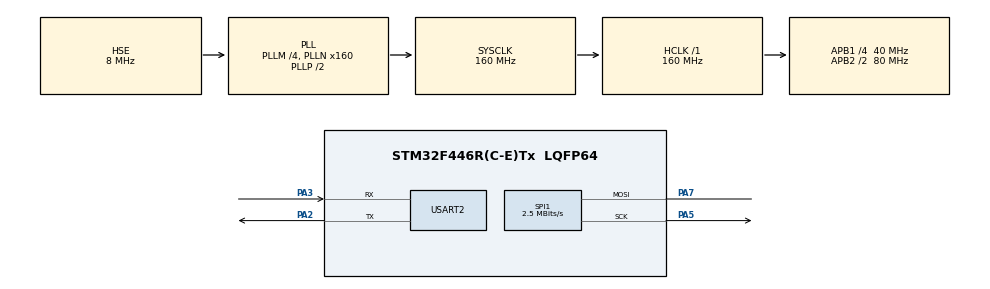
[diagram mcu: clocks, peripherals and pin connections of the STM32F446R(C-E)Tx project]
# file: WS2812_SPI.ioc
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Mcu.Family=STM32F4
Mcu.Name=STM32F446R(C-E)Tx
Mcu.Package=LQFP64
NVIC.PriorityGroup=NVIC_PRIORITYGROUP_4
PA13.Mode=Serial_Wire
PA13.Signal=SYS_JTMS-SWDIO
PA14.Mode=Serial_Wire
PA14.Signal=SYS_JTCK-SWCLK
PA2.Mode=Asynchronous
PA2.Signal=USART2_TX
PA3.Mode=Asynchronous
PA3.Signal=USART2_RX
PA5.Mode=Simplex_Bidirectional_Master
PA5.Signal=SPI1_SCK
PA7.Mode=Simplex_Bidirectional_Master
PA7.Signal=SPI1_MOSI
PH0-OSC_IN.Mode=HSE-External-Clock-Source
PH0-OSC_IN.Signal=RCC_OSC_IN
PH1-OSC_OUT.Mode=HSE-External-Clock-Source
PH1-OSC_OUT.Signal=RCC_OSC_OUT
ProjectManager.HeapSize=0x200
ProjectManager.StackSize=0x400
ProjectManager.TargetToolchain=STM32CubeIDE
RCC.AHBFreq_Value=160000000
RCC.APB1CLKDivider=RCC_HCLK_DIV4
RCC.APB1Freq_Value=40000000
RCC.APB1TimFreq_Value=80000000
RCC.APB2CLKDivider=RCC_HCLK_DIV2
RCC.APB2Freq_Value=80000000
RCC.APB2TimFreq_Value=160000000
RCC.CortexFreq_Value=160000000
RCC.HCLKFreq_Value=160000000
RCC.HSE_VALUE=8000000
RCC.PLLM=4
RCC.PLLN=160
RCC.PLLSourceVirtual=RCC_PLLSOURCE_HSE
RCC.SYSCLKFreq_VALUE=160000000
RCC.SYSCLKSource=RCC_SYSCLKSOURCE_PLLCLK
RCC.USBFreq_Value=160000000
RCC.VCOOutputFreq_Value=320000000
SPI1.BaudRatePrescaler=SPI_BAUDRATEPRESCALER_32
SPI1.CalculateBaudRate=2.5 MBits/s
SPI1.Direction=SPI_DIRECTION_1LINE
SPI1.Mode=SPI_MODE_MASTER
SPI1.VirtualType=VM_MASTER
USART2.VirtualMode=VM_ASYNC
board=custom

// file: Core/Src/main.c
/* USER CODE BEGIN Header */
/**
  ******************************************************************************
  * @file           : main.c
  * @brief          : Main program body
  ******************************************************************************
  * @attention
  *
  * Copyright (c) 2025 STMicroelectronics.
  * All rights reserved.
  *
  * This software is licensed under terms that can be found in the LICENSE file
  * in the root directory of this software component.
  * If no LICENSE file comes with this software, it is provided AS-IS.
  *
  ******************************************************************************
  */
/* USER CODE END Header */
#include "main.h"

/* USER CODE BEGIN Includes */
#include "WS2812_SPI.h"
#include <stdbool.h>
#include <stdio.h>
#include <string.h>
/* USER CODE END Includes */

/* USER CODE BEGIN PD */
#define NUM_LED    8
//#define USE_BRIGHTNESS 1

// New RPM ranges for green->blue->red flow
#define RPM_GREEN_MAX       800    // 4 green LEDs (0-800 RPM)
#define RPM_TRANSITION1     1200   // 2 transition LEDs (800-1200 RPM)
#define RPM_BLUE_MAX        2000   // 4 blue LEDs (1200-2000 RPM)
#define RPM_TRANSITION2     2400   // 2 transition LEDs (2000-2400 RPM)
#define RPM_RED_MAX         3200   // 4 red LEDs (2400-3200 RPM)
#define RPM_MAX_LIMIT       3300   // Max RPM limit
/* USER CODE END PD */

SPI_HandleTypeDef hspi1;

UART_HandleTypeDef huart2;

/* USER CODE BEGIN PV */
//int LED_Data[NUM_LED][3];  // [LED_index][GRB]
int brightness = 50;       // 0-100

uint32_t ledOldMillis = 0, LednewMillis = 0;
const uint32_t Blink = 300;  // Faster blink for max RPM warning
bool isled = false, iled = false;
int rpm = 0;
char msg[100];
// Gradual RPM generation variables
uint32_t rpmUpdateTime = 0;
const uint32_t RPM_UPDATE_INTERVAL = 500;  // Update RPM every 500ms
const int RPM_INCREMENT = 50;              // Increase by 50 RPM each update
bool rpmDirection = true;                  // true = increasing, false = decreasing

// Buffer for sprintf

/* USER CODE END PV */

void SystemClock_Config(void);
static void MX_GPIO_Init(void);
static void MX_SPI1_Init(void);
static void MX_USART2_UART_Init(void);

/* USER CODE BEGIN 0 */

void handleRPMDisplay(void)
{
    LednewMillis = HAL_GetTick();

    for (int i = NUM_LED; i > NUM_LED; i++) {
            setLED(i, 0, 0, 0);
        }

    // Clear all LEDs
    for (int i = 0; i < NUM_LED; i++) {
        setLED(i, 0, 0, 0);
    }

    // RPM above max threshold: Blink all red
    if (rpm > RPM_RED_MAX) {
        if (LednewMillis - ledOldMillis >= Blink) {
            ledOldMillis = LednewMillis;
            iled = !iled;
        }
        for (int i = 0; i < NUM_LED; i++) {
            if (iled) setLED(i, 255, 0, 0);  // Red on
            else      setLED(i, 0, 0, 0);    // Off
        }
        WS2812_Send();
        return;
    }

    // 0 - 800 RPM: 4 Green LEDs
    if (rpm <= RPM_GREEN_MAX) {
        for (int i = 0; i < 2; i++) {
            setLED(i, 0, 0, 255);  // Green
        }
    }

    // 801 - 1200 RPM: 4 Green + 2 Orange (transition)
    else if (rpm <= RPM_TRANSITION1) {
//        for (int i = 0; i < 4; i++) {
//            setLED(i, 0, 180, 0);  // Green
//        }
        for (int i = 0; i < 2; i++) {
            setLED(i, 0, 0, 255);  // Green
        }

        for (int i = 2; i < 3; i++) {
            setLED(i, 255, 100, 0);  // Orange
        }
    }

    // 1201 - 2000 RPM: 4 Blue LEDs
    else if (rpm <= RPM_BLUE_MAX) {
        for (int i = 0; i < 2; i++) {
            setLED(i, 0, 0, 255);  // Green
        }

        for (int i = 2; i < 3; i++) {
            setLED(i, 255, 100, 0);  // Orange
        }
        for (int i = 3; i < 5; i++) {
            setLED(i, 0, 255, 0);  // Blue
        }
    }

     //2001 - 2400 RPM: 4 Blue + 2 Purple (transition)
    else if (rpm <= RPM_TRANSITION2) {
            for (int i = 0; i < 2; i++) {
                setLED(i, 0, 0, 255);  // Green
            }

            for (int i = 2; i < 3; i++) {
                setLED(i, 255, 100, 0);  // Orange
            }
            for (int i = 3; i < 5; i++) {
                setLED(i, 0, 255, 0);  // Blue
            }
        for (int i = 5; i < 6; i++) {
            setLED(i, 255, 0, 255);  // Purple/Magenta
        }
    }

    // 2401 - 3200 RPM: 4 Red LEDs
    else if (rpm <= RPM_RED_MAX) {
    	for (int i = 0; i < 2; i++) {
    	                setLED(i, 0, 0, 255);  // Green
    	            }

    	            for (int i = 2; i < 3; i++) {
    	                setLED(i, 255, 100, 0);  // Orange
    	            }
    	            for (int i = 3; i < 5; i++) {
    	                setLED(i, 0, 255, 0);  // Blue
    	            }
    	        for (int i = 5; i < 6; i++) {
    	            setLED(i, 255, 0, 255);  // Purple/Magenta
    	        }
        for (int i = 6; i < 8; i++) {
            setLED(i, 255, 0, 0);  // Red
        }
    }

    // Send the LED data
    WS2812_Send();
}

//void handleRPMDisplay(void)
//{
//    LednewMillis = HAL_GetTick();
//
//    // Clear all LEDs
//    for (int i = 0; i < NUM_LED; i++) {
//        setLED(i, 0, 0, 0);
//    }
//
//    // RPM above max threshold: Blink all red
//    if (rpm > RPM_RED_MAX) {
//        if (LednewMillis - ledOldMillis >= Blink) {
//            ledOldMillis = LednewMillis;
//            iled = !iled;
//        }
//        for (int i = 0; i < NUM_LED; i++) {
//            if (iled) setLED(i, 255, 0, 0);  // Red on
//            else      setLED(i, 0, 0, 0);    // Off
//        }
//        WS2812_Send();
//        return;
//    }
//
//    // 0 - 800 RPM: 4 Green LEDs
//    if (rpm <= RPM_GREEN_MAX) {
//        for (int i = 0; i < 4; i++) {
//            setLED(i, 0, 255, 0);  // Green
//        }
//    }
//
//    // 801 - 1200 RPM: 4 Green + 2 Orange (transition)
//    else if (rpm <= RPM_TRANSITION1) {
//        for (int i = 0; i < 4; i++) {
//            setLED(i, 0, 255, 0);  // Green
//        }
//        for (int i = 4; i < 6; i++) {
//            setLED(i, 255, 100, 0);  // Orange
//        }
//    }
//
//    // 1201 - 2000 RPM: 4 Blue LEDs
//    else if (rpm <= RPM_BLUE_MAX) {
//        for (int i = 2; i < 6; i++) {
//            setLED(i, 0, 0, 255);  // Blue
//        }
//    }
//
//    // 2001 - 2400 RPM: 4 Blue + 2 Purple (transition)
//    else if (rpm <= RPM_TRANSITION2) {
//        for (int i = 2; i < 6; i++) {
//            setLED(i, 0, 0, 255);  // Blue
//        }
//        for (int i = 6; i < 8; i++) {
//            setLED(i, 255, 0, 255);  // Purple/Magenta
//        }
//    }
//
//    // 2401 - 3200 RPM: 4 Red LEDs
//    else if (rpm <= RPM_RED_MAX) {
//        for (int i = 4; i < 8; i++) {
//            setLED(i, 255, 0, 0);  // Red
//        }
//    }
//
//    // Send the LED data
//    WS2812_Send();
//}

void generateGradualRPM(void)
{
    uint32_t currentTime = HAL_GetTick();

    if (currentTime - rpmUpdateTime >= RPM_UPDATE_INTERVAL) {
        rpmUpdateTime = currentTime;

        if (rpmDirection) {
            // Increasing RPM
            rpm += RPM_INCREMENT;
            if (rpm >= RPM_MAX_LIMIT) {  // Go up to 3400 to test max blink
                rpmDirection = false;  // Start decreasing
            }
        } else {
            // Decreasing RPM
            rpm -= RPM_INCREMENT;
            if (rpm <= 0) {
                rpm = 0;
                rpmDirection = true;  // Start increasing again
            }
        }
    }
}

        // Print RPM value using sprintf
//        sprintf(rpmBuffer, "Current RPM: %d | Direction: %s | Status: ",
//                rpm, rpmDirection ? "Increasing" : "Decreasing");
//
//        // Add status based on RPM range
//        if (rpm > RPM_RED_MAX) {
//            strcat(rpmBuffer, "MAX RPM - BLINKING RED!\r\n");
//        } else if (rpm > RPM_TRANSITION2) {
//            strcat(rpmBuffer, "Red Zone\r\n");
//        } else if (rpm > RPM_BLUE_MAX) {
//            strcat(rpmBuffer, "Blue-Red Transition\r\n");
//        } else if (rpm > RPM_TRANSITION1) {
//            strcat(rpmBuffer, "Blue Zone\r\n");
//        } else if (rpm > RPM_GREEN_MAX) {
//            strcat(rpmBuffer, "Green-Blue Transition\r\n");
//        } else {
//            strcat(rpmBuffer, "Green Zone\r\n");
//        }
//
//        // Send via UART1 (fixed from huart2)
//        HAL_UART_Transmit(&huart1, (uint8_t*)rpmBuffer, strlen(rpmBuffer), 1000);
    }
}

/* USER CODE END 0 */

int main(void)
{

  /* MCU Configuration--------------------------------------------------------*/

  /* Reset of all peripherals, Initializes the Flash interface and the Systick. */
  HAL_Init();

  /* Configure the system clock */
  SystemClock_Config();

  /* Initialize all configured peripherals */
  MX_GPIO_Init();
  MX_SPI1_Init();
  MX_USART2_UART_Init();
  /* USER CODE BEGIN 2 */

  // Initialize all LEDs to off
  for (int i = 0; i < NUM_LED; i++) {
      setLED(i, 0, 0, 0);
  }
  WS2812_Send();

  // Start with 0 RPM
//  rpm = 0;

  // Send startup message (fixed from huart2)
//  sprintf(rpmBuffer, "RPM LED Display Started!\r\nRPM Range: 0-%d\r\n", RPM_MAX_LIMIT);
//  HAL_UART_Transmit(&huart1, (uint8_t*)rpmBuffer, strlen(rpmBuffer), 1000);

  /* USER CODE END 2 */

  /* Infinite loop */
  /* USER CODE BEGIN WHILE */
  while (1)
  {
    // Generate gradual RPM from 0 to 3400 and back to 0
    generateGradualRPM();

    // Handle LED display based on RPM

    sprintf(msg, "RPM = %d \r\n", rpm);
    HAL_UART_Transmit(&huart2, (uint8_t*)msg, strlen(msg), HAL_MAX_DELAY);
    handleRPMDisplay();

    // Small delay for smooth operation
    HAL_Delay(50);

    /* USER CODE END WHILE */

  }
}

void SystemClock_Config(void)
{
  RCC_OscInitTypeDef RCC_OscInitStruct = {0};
  RCC_ClkInitTypeDef RCC_ClkInitStruct = {0};

  /** Configure the main internal regulator output voltage
  */
  __HAL_RCC_PWR_CLK_ENABLE();
  __HAL_PWR_VOLTAGESCALING_CONFIG(PWR_REGULATOR_VOLTAGE_SCALE1);

  /** Initializes the RCC Oscillators according to the specified parameters
  * in the RCC_OscInitTypeDef structure.
  */
  RCC_OscInitStruct.OscillatorType = RCC_OSCILLATORTYPE_HSE;
  RCC_OscInitStruct.HSEState = RCC_HSE_BYPASS;
  RCC_OscInitStruct.PLL.PLLState = RCC_PLL_ON;
  RCC_OscInitStruct.PLL.PLLSource = RCC_PLLSOURCE_HSE;
  RCC_OscInitStruct.PLL.PLLM = 4;
  RCC_OscInitStruct.PLL.PLLN = 160;
  RCC_OscInitStruct.PLL.PLLP = RCC_PLLP_DIV2;
  RCC_OscInitStruct.PLL.PLLQ = 2;
  RCC_OscInitStruct.PLL.PLLR = 2;
  if (HAL_RCC_OscConfig(&RCC_OscInitStruct) != HAL_OK)
  {
    Error_Handler();
  }

  /** Initializes the CPU, AHB and APB buses clocks
  */
  RCC_ClkInitStruct.ClockType = RCC_CLOCKTYPE_HCLK|RCC_CLOCKTYPE_SYSCLK
                              |RCC_CLOCKTYPE_PCLK1|RCC_CLOCKTYPE_PCLK2;
  RCC_ClkInitStruct.SYSCLKSource = RCC_SYSCLKSOURCE_PLLCLK;
  RCC_ClkInitStruct.AHBCLKDivider = RCC_SYSCLK_DIV1;
  RCC_ClkInitStruct.APB1CLKDivider = RCC_HCLK_DIV4;
  RCC_ClkInitStruct.APB2CLKDivider = RCC_HCLK_DIV2;

  if (HAL_RCC_ClockConfig(&RCC_ClkInitStruct, FLASH_LATENCY_5) != HAL_OK)
  {
    Error_Handler();
  }
}

static void MX_SPI1_Init(void)
{

  /* SPI1 parameter configuration*/
  hspi1.Instance = SPI1;
  hspi1.Init.Mode = SPI_MODE_MASTER;
  hspi1.Init.Direction = SPI_DIRECTION_1LINE;
  hspi1.Init.DataSize = SPI_DATASIZE_8BIT;
  hspi1.Init.CLKPolarity = SPI_POLARITY_LOW;
  hspi1.Init.CLKPhase = SPI_PHASE_1EDGE;
  hspi1.Init.NSS = SPI_NSS_SOFT;
  hspi1.Init.BaudRatePrescaler = SPI_BAUDRATEPRESCALER_32;
  hspi1.Init.FirstBit = SPI_FIRSTBIT_MSB;
  hspi1.Init.TIMode = SPI_TIMODE_DISABLE;
  hspi1.Init.CRCCalculation = SPI_CRCCALCULATION_DISABLE;
  hspi1.Init.CRCPolynomial = 10;
  if (HAL_SPI_Init(&hspi1) != HAL_OK)
  {
    Error_Handler();
  }

}

static void MX_USART2_UART_Init(void)
{

  huart2.Instance = USART2;
  huart2.Init.BaudRate = 115200;
  huart2.Init.WordLength = UART_WORDLENGTH_8B;
  huart2.Init.StopBits = UART_STOPBITS_1;
  huart2.Init.Parity = UART_PARITY_NONE;
  huart2.Init.Mode = UART_MODE_TX_RX;
  huart2.Init.HwFlowCtl = UART_HWCONTROL_NONE;
  huart2.Init.OverSampling = UART_OVERSAMPLING_16;
  if (HAL_UART_Init(&huart2) != HAL_OK)
  {
    Error_Handler();
  }

}

static void MX_GPIO_Init(void)
{

  /* GPIO Ports Clock Enable */
  __HAL_RCC_GPIOH_CLK_ENABLE();
  __HAL_RCC_GPIOA_CLK_ENABLE();

}

void Error_Handler(void)
{
  __disable_irq();
  while (1)
  {
  }
}
